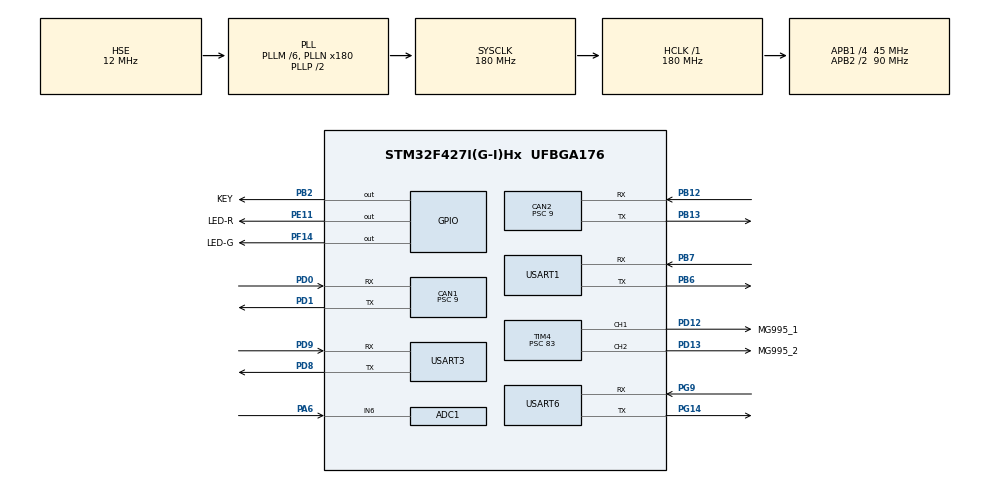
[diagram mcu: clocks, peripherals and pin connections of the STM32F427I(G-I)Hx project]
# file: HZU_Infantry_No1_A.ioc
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ADC1.Channel-0\#ChannelRegularConversion=ADC_CHANNEL_6
ADC1.NbrOfConversionFlag=1
ADC1.Rank-0\#ChannelRegularConversion=1
ADC1.SamplingTime-0\#ChannelRegularConversion=ADC_SAMPLETIME_3CYCLES
ADC1.master=1
CAN1.BS1=CAN_BS1_3TQ
CAN1.BS2=CAN_BS2_1TQ
CAN1.CalculateBaudRate=1000000
CAN1.CalculateTimeBit=1000.00
CAN1.CalculateTimeQuantum=200.0
CAN1.Prescaler=9
CAN2.BS1=CAN_BS1_3TQ
CAN2.BS2=CAN_BS2_1TQ
CAN2.CalculateBaudRate=1000000
CAN2.CalculateTimeBit=1000.00
CAN2.CalculateTimeQuantum=200.0
CAN2.Prescaler=9
Dma.Request0=USART3_RX
Dma.Request1=USART3_TX
Dma.USART3_RX.0.Direction=DMA_PERIPH_TO_MEMORY
Dma.USART3_RX.0.FIFOMode=DMA_FIFOMODE_DISABLE
Dma.USART3_RX.0.Instance=DMA1_Stream1
Dma.USART3_RX.0.MemDataAlignment=DMA_MDATAALIGN_BYTE
Dma.USART3_RX.0.MemInc=DMA_MINC_ENABLE
Dma.USART3_RX.0.Mode=DMA_CIRCULAR
Dma.USART3_RX.0.PeriphDataAlignment=DMA_PDATAALIGN_BYTE
Dma.USART3_RX.0.PeriphInc=DMA_PINC_DISABLE
Dma.USART3_RX.0.Priority=DMA_PRIORITY_VERY_HIGH
Dma.USART3_TX.1.Direction=DMA_MEMORY_TO_PERIPH
Dma.USART3_TX.1.FIFOMode=DMA_FIFOMODE_DISABLE
Dma.USART3_TX.1.Instance=DMA1_Stream3
Dma.USART3_TX.1.MemDataAlignment=DMA_MDATAALIGN_BYTE
Dma.USART3_TX.1.MemInc=DMA_MINC_ENABLE
Dma.USART3_TX.1.Mode=DMA_CIRCULAR
Dma.USART3_TX.1.PeriphDataAlignment=DMA_PDATAALIGN_BYTE
Dma.USART3_TX.1.PeriphInc=DMA_PINC_DISABLE
Dma.USART3_TX.1.Priority=DMA_PRIORITY_VERY_HIGH
FREERTOS.INCLUDE_pcTaskGetTaskName=1
FREERTOS.INCLUDE_uxTaskGetStackHighWaterMark2=1
FREERTOS.INCLUDE_vTaskCleanUpResources=1
FREERTOS.INCLUDE_xEventGroupSetBitFromISR=1
FREERTOS.INCLUDE_xSemaphoreGetMutexHolder=1
FREERTOS.INCLUDE_xTaskAbortDelay=1
FREERTOS.INCLUDE_xTaskGetCurrentTaskHandle=1
FREERTOS.INCLUDE_xTaskGetHandle=1
FREERTOS.Tasks01=defaultTask,24,256,StartDefaultTask,Default,NULL,Dynamic,NULL,NULL
FREERTOS.configENABLE_BACKWARD_COMPATIBILITY=0
FREERTOS.configENABLE_FPU=1
FREERTOS.configGENERATE_RUN_TIME_STATS=1
FREERTOS.configRECORD_STACK_HIGH_ADDRESS=1
FREERTOS.configUSE_STATS_FORMATTING_FUNCTIONS=1
Mcu.Family=STM32F4
Mcu.Name=STM32F427I(G-I)Hx
Mcu.Package=UFBGA176
NVIC.ADC_IRQn=true\:5\:0\:false\:false\:true\:true\:true\:true
NVIC.CAN1_RX0_IRQn=true\:5\:0\:false\:false\:true\:true\:true\:true
NVIC.CAN1_RX1_IRQn=true\:5\:0\:false\:false\:true\:true\:true\:true
NVIC.CAN1_TX_IRQn=true\:5\:0\:false\:false\:true\:true\:true\:true
NVIC.CAN2_RX0_IRQn=true\:5\:0\:false\:false\:true\:true\:true\:true
NVIC.CAN2_RX1_IRQn=true\:5\:0\:false\:false\:true\:true\:true\:true
NVIC.CAN2_TX_IRQn=true\:5\:0\:false\:false\:true\:true\:true\:true
NVIC.DMA1_Stream1_IRQn=true\:5\:0\:false\:false\:true\:true\:false\:true
NVIC.DMA1_Stream3_IRQn=true\:5\:0\:false\:false\:true\:true\:false\:true
NVIC.PriorityGroup=NVIC_PRIORITYGROUP_4
NVIC.TIM1_UP_TIM10_IRQn=true\:0\:0\:false\:false\:true\:false\:false\:true
NVIC.TIM3_IRQn=true\:5\:0\:false\:false\:true\:true\:true\:true
NVIC.TIM7_IRQn=true\:5\:0\:false\:false\:true\:true\:true\:true
NVIC.TimeBase=TIM1_UP_TIM10_IRQn
NVIC.TimeBaseIP=TIM1
NVIC.USART1_IRQn=true\:5\:0\:false\:false\:true\:true\:true\:true
NVIC.USART3_IRQn=true\:5\:0\:false\:false\:true\:true\:true\:true
NVIC.USART6_IRQn=true\:5\:0\:false\:false\:true\:true\:true\:true
PA13.Mode=Serial_Wire
PA13.Signal=SYS_JTMS-SWDIO
PA14.Mode=Serial_Wire
PA14.Signal=SYS_JTCK-SWCLK
PA6.Signal=ADCx_IN6
PB12.Mode=CAN_Activate
PB12.Signal=CAN2_RX
PB13.Mode=CAN_Activate
PB13.Signal=CAN2_TX
PB2/BOOT1.GPIO_Label=KEY
PB2/BOOT1.GPIO_ModeDefaultOutputPP=GPIO_MODE_OUTPUT_PP
PB2/BOOT1.GPIO_PuPd=GPIO_PULLUP
PB2/BOOT1.GPIO_Speed=GPIO_SPEED_FREQ_VERY_HIGH
PB2/BOOT1.Signal=GPIO_Output
PB6.Mode=Asynchronous
PB6.Signal=USART1_TX
PB7.Mode=Asynchronous
PB7.Signal=USART1_RX
PD0.Mode=CAN_Activate
PD0.Signal=CAN1_RX
PD1.Mode=CAN_Activate
PD1.Signal=CAN1_TX
PD12.GPIO_Label=MG995_1
PD12.GPIO_Speed=GPIO_SPEED_FREQ_HIGH
PD12.Signal=S_TIM4_CH1
PD13.GPIO_Label=MG995_2
PD13.GPIO_Speed=GPIO_SPEED_FREQ_HIGH
PD13.Signal=S_TIM4_CH2
PD8.Mode=Asynchronous
PD8.Signal=USART3_TX
PD9.Mode=Asynchronous
PD9.Signal=USART3_RX
PE11.GPIO_Label=LED-R
PE11.GPIO_PuPd=GPIO_PULLUP
PE11.GPIO_Speed=GPIO_SPEED_FREQ_VERY_HIGH
PE11.Signal=GPIO_Output
PF14.GPIO_Label=LED-G
PF14.GPIO_PuPd=GPIO_PULLUP
PF14.GPIO_Speed=GPIO_SPEED_FREQ_VERY_HIGH
PF14.Signal=GPIO_Output
PG14.Mode=Asynchronous
PG14.Signal=USART6_TX
PG9.Mode=Asynchronous
PG9.Signal=USART6_RX
PH0/OSC_IN.Mode=HSE-External-Oscillator
PH0/OSC_IN.Signal=RCC_OSC_IN
PH1/OSC_OUT.Mode=HSE-External-Oscillator
PH1/OSC_OUT.Signal=RCC_OSC_OUT
ProjectManager.HeapSize=0x200
ProjectManager.StackSize=0x400
ProjectManager.TargetToolchain=MDK-ARM V5.27
RCC.48MHZClocksFreq_Value=90000000
RCC.AHBFreq_Value=180000000
RCC.APB1CLKDivider=RCC_HCLK_DIV4
RCC.APB1Freq_Value=45000000
RCC.APB1TimFreq_Value=90000000
RCC.APB2CLKDivider=RCC_HCLK_DIV2
RCC.APB2Freq_Value=90000000
RCC.APB2TimFreq_Value=180000000
RCC.CortexFreq_Value=180000000
RCC.HCLKFreq_Value=180000000
RCC.HSE_VALUE=12000000
RCC.HSI_VALUE=16000000
RCC.LSE_VALUE=32768
RCC.PLLM=6
RCC.PLLN=180
RCC.PLLSourceVirtual=RCC_PLLSOURCE_HSE
RCC.SYSCLKFreq_VALUE=180000000
RCC.SYSCLKSource=RCC_SYSCLKSOURCE_PLLCLK
RCC.VCOOutputFreq_Value=360000000
SH.ADCx_IN6.0=ADC1_IN6,IN6
SH.S_TIM4_CH1.0=TIM4_CH1,PWM Generation1 CH1
SH.S_TIM4_CH2.0=TIM4_CH2,PWM Generation2 CH2
TIM3.Period=54
TIM3.Prescaler=84
TIM4.AutoReloadPreload=TIM_AUTORELOAD_PRELOAD_ENABLE
TIM4.Channel-PWM\ Generation1\ CH1=TIM_CHANNEL_1
TIM4.Channel-PWM\ Generation2\ CH2=TIM_CHANNEL_2
TIM4.Period=19999
TIM4.Prescaler=83
TIM7.AutoReloadPreload=TIM_AUTORELOAD_PRELOAD_ENABLE
TIM7.Period=999
TIM7.Prescaler=89
USART1.VirtualMode=VM_ASYNC
USART3.VirtualMode=VM_ASYNC
USART6.VirtualMode=VM_ASYNC
VP_FREERTOS_VS_CMSIS_V2.Mode=CMSIS_V2
VP_SYS_VS_tim1.Mode=TIM1
VP_TIM3_VS_ClockSourceINT.Mode=Internal
VP_TIM4_VS_ClockSourceINT.Mode=Internal
VP_TIM7_VS_ClockSourceINT.Mode=Enable_Timer
board=custom

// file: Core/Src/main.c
/* USER CODE BEGIN Header */
/**
  ******************************************************************************
  * @file           : main.c
  * @brief          : Main program body
  ******************************************************************************
  * @attention
  *
  * <h2><center>&copy; Copyright (c) 2021 STMicroelectronics.
  * All rights reserved.</center></h2>
  *
  * This software component is licensed by ST under BSD 3-Clause license,
  * the "License"; You may not use this file except in compliance with the
  * License. You may obtain a copy of the License at:
  *                        opensource.org/licenses/BSD-3-Clause
  *
  ******************************************************************************
  */
/* USER CODE END Header */
#include "main.h"
#include "cmsis_os.h"
#include "adc.h"
#include "can.h"
#include "dma.h"
#include "tim.h"
#include "usart.h"
#include "gpio.h"

/* USER CODE BEGIN Includes */
#include "string.h"
#include "chassis_task.h"
/* USER CODE END Includes */

void SystemClock_Config(void);
void MX_FREERTOS_Init(void);
/* USER CODE BEGIN PFP */
extern volatile uint64_t freertos_run_time;
/* USER CODE END PFP */

int main(void)
{

  /* MCU Configuration--------------------------------------------------------*/

  /* Reset of all peripherals, Initializes the Flash interface and the Systick. */
  HAL_Init();

  /* Configure the system clock */
  SystemClock_Config();

  /* Initialize all configured peripherals */
  MX_GPIO_Init();
  MX_DMA_Init();
  MX_CAN1_Init();
  MX_CAN2_Init();
  MX_TIM7_Init();
  MX_USART3_UART_Init();
  MX_ADC1_Init();
  MX_USART1_UART_Init();
  MX_USART6_UART_Init();
  MX_TIM3_Init();
  MX_TIM4_Init();
  /* USER CODE BEGIN 2 */
  freertos_run_tim3_configuration();
  CAN_APP_INIT();    //can过滤器初始化
  LED_Init();        // OLED屏幕初始化
  delay_init(180);  // 这个delay_init必须放在OLED初始化后面

  // check_connect(&connect_data);//判断底盘云台是否连接
  /* USER CODE END 2 */

  /* Init scheduler */
  osKernelInitialize();  /* Call init function for freertos objects (in freertos.c) */
  MX_FREERTOS_Init();
  /* Start scheduler */
  osKernelStart();

  /* We should never get here as control is now taken by the scheduler */
  /* Infinite loop */
  while (1)
  {

  }
}

void SystemClock_Config(void)
{
  RCC_OscInitTypeDef RCC_OscInitStruct = {0};
  RCC_ClkInitTypeDef RCC_ClkInitStruct = {0};

  /** Configure the main internal regulator output voltage
  */
  __HAL_RCC_PWR_CLK_ENABLE();
  __HAL_PWR_VOLTAGESCALING_CONFIG(PWR_REGULATOR_VOLTAGE_SCALE1);
  /** Initializes the RCC Oscillators according to the specified parameters
  * in the RCC_OscInitTypeDef structure.
  */
  RCC_OscInitStruct.OscillatorType = RCC_OSCILLATORTYPE_HSE;
  RCC_OscInitStruct.HSEState = RCC_HSE_ON;
  RCC_OscInitStruct.PLL.PLLState = RCC_PLL_ON;
  RCC_OscInitStruct.PLL.PLLSource = RCC_PLLSOURCE_HSE;
  RCC_OscInitStruct.PLL.PLLM = 6;
  RCC_OscInitStruct.PLL.PLLN = 180;
  RCC_OscInitStruct.PLL.PLLP = RCC_PLLP_DIV2;
  RCC_OscInitStruct.PLL.PLLQ = 4;
  if (HAL_RCC_OscConfig(&RCC_OscInitStruct) != HAL_OK)
  {
    Error_Handler();
  }
  /** Activate the Over-Drive mode
  */
  if (HAL_PWREx_EnableOverDrive() != HAL_OK)
  {
    Error_Handler();
  }
  /** Initializes the CPU, AHB and APB buses clocks
  */
  RCC_ClkInitStruct.ClockType = RCC_CLOCKTYPE_HCLK|RCC_CLOCKTYPE_SYSCLK
                              |RCC_CLOCKTYPE_PCLK1|RCC_CLOCKTYPE_PCLK2;
  RCC_ClkInitStruct.SYSCLKSource = RCC_SYSCLKSOURCE_PLLCLK;
  RCC_ClkInitStruct.AHBCLKDivider = RCC_SYSCLK_DIV1;
  RCC_ClkInitStruct.APB1CLKDivider = RCC_HCLK_DIV4;
  RCC_ClkInitStruct.APB2CLKDivider = RCC_HCLK_DIV2;

  if (HAL_RCC_ClockConfig(&RCC_ClkInitStruct, FLASH_LATENCY_5) != HAL_OK)
  {
    Error_Handler();
  }
}

/* USER CODE BEGIN 4 */
extern chassis_control_data_t chassis_control_data;
extern chassis_pid_t chassis_pid;
/* USER CODE END 4 */

 /**
  * @brief  Period elapsed callback in non blocking mode
  * @note   This function is called  when TIM1 interrupt took place, inside
  * HAL_TIM_IRQHandler(). It makes a direct call to HAL_IncTick() to increment
  * a global variable "uwTick" used as application time base.
  * @param  htim : TIM handle
  * @retval None
  */
void HAL_TIM_PeriodElapsedCallback(TIM_HandleTypeDef *htim)
{
  if (htim->Instance == TIM1) {
    HAL_IncTick();
  }
  /* USER CODE BEGIN Callback 1 */
else if(htim->Instance == TIM3)
	{
		freertos_run_time ++;
	}
else if(htim->Instance== htim7.Instance)//中断执行保证速度稳定
    {
        // if(tim7_cnt++==1000)
        // {
        //     tim7_cnt=0;
        //     LED_PrintValueI(10,5,time_s++);
        // }
        chassis_set_and_fdb_update(&chassis_control_data, &chassis_pid);
		    // chassis_pid_calculate(&chassis_control_data, &chassis_pid);

    }
  /* USER CODE END Callback 1 */
}

void Error_Handler(void)
{
  __disable_irq();
  while (1)
  {
  }
}

/************************ (C) COPYRIGHT STMicroelectronics *****END OF FILE****/

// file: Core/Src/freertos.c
/* USER CODE BEGIN Header */
/**
  ******************************************************************************
  * File Name          : freertos.c
  * Description        : Code for freertos applications
  ******************************************************************************
  * @attention
  *
  * <h2><center>&copy; Copyright (c) 2021 STMicroelectronics.
  * All rights reserved.</center></h2>
  *
  * This software component is licensed by ST under Ultimate Liberty license
  * SLA0044, the "License"; You may not use this file except in compliance with
  * the License. You may obtain a copy of the License at:
  *                             www.st.com/SLA0044
  *
  ******************************************************************************
  */
/* USER CODE END Header */

#include "FreeRTOS.h"
#include "task.h"
#include "main.h"
#include "cmsis_os.h"

/* USER CODE BEGIN Includes */
#include "struct_typedef.h"
#include "can1_app.h"
#include "can2_app.h"
#include "can.h"
#include "chassis_task.h"
#include "connect_task.h"
#include "GUI_task.h"
/* USER CODE END Includes */

/* Definitions for defaultTask */
osThreadId_t defaultTaskHandle;
const osThreadAttr_t defaultTask_attributes = {
  .name = "defaultTask",
  .priority = (osPriority_t) osPriorityNormal,
  .stack_size = 256 * 4
};

/* USER CODE BEGIN FunctionPrototypes */
osThreadId_t Start_Task_Handler;
const osThreadAttr_t Start_Task_attr = {
  .name = "Start_Task",
  .priority = (osPriority_t) osPriorityLow,
  .stack_size = 256 * 4
};
void start_task(void *argument);
/* USER CODE BEGIN FunctionPrototypes */

/* USER CODE END FunctionPrototypes */

void StartDefaultTask(void *argument);

void MX_FREERTOS_Init(void); /* (MISRA C 2004 rule 8.1) */

/* Hook prototypes */
void configureTimerForRunTimeStats(void);
unsigned long getRunTimeCounterValue(void);

/* USER CODE BEGIN 1 */
extern volatile uint64_t freertos_run_time;
/* Functions needed when configGENERATE_RUN_TIME_STATS is on */
__weak void configureTimerForRunTimeStats(void)
{
		freertos_run_time = 0;
    MX_TIM3_Init();
}

__weak unsigned long getRunTimeCounterValue(void)
{
  return freertos_run_time;
}
/* USER CODE END 1 */

void MX_FREERTOS_Init(void) {

  /* Create the thread(s) */
  /* creation of defaultTask */
  defaultTaskHandle = osThreadNew(StartDefaultTask, NULL, &defaultTask_attributes);

  /* USER CODE BEGIN RTOS_THREADS */
	 Start_Task_Handler = osThreadNew(start_task, NULL, &Start_Task_attr);
  /* add threads, ... */
  /* USER CODE END RTOS_THREADS */

}

/* USER CODE BEGIN Header_StartDefaultTask */
/**
  * @brief  Function implementing the defaultTask thread.
  * @param  argument: Not used
  * @retval None
  */

// uint64_t Defult_cnt = 0;
/* USER CODE END Header_StartDefaultTask */
void StartDefaultTask(void *argument)
{
  /* USER CODE BEGIN StartDefaultTask */
	// Defult_cnt++;
  /* Infinite loop */
  for(;;)
  {
    // Defult_cnt++;
    osDelay(100);
  }
  /* USER CODE END StartDefaultTask */
}

/************************ (C) COPYRIGHT STMicroelectronics *****END OF FILE****/
